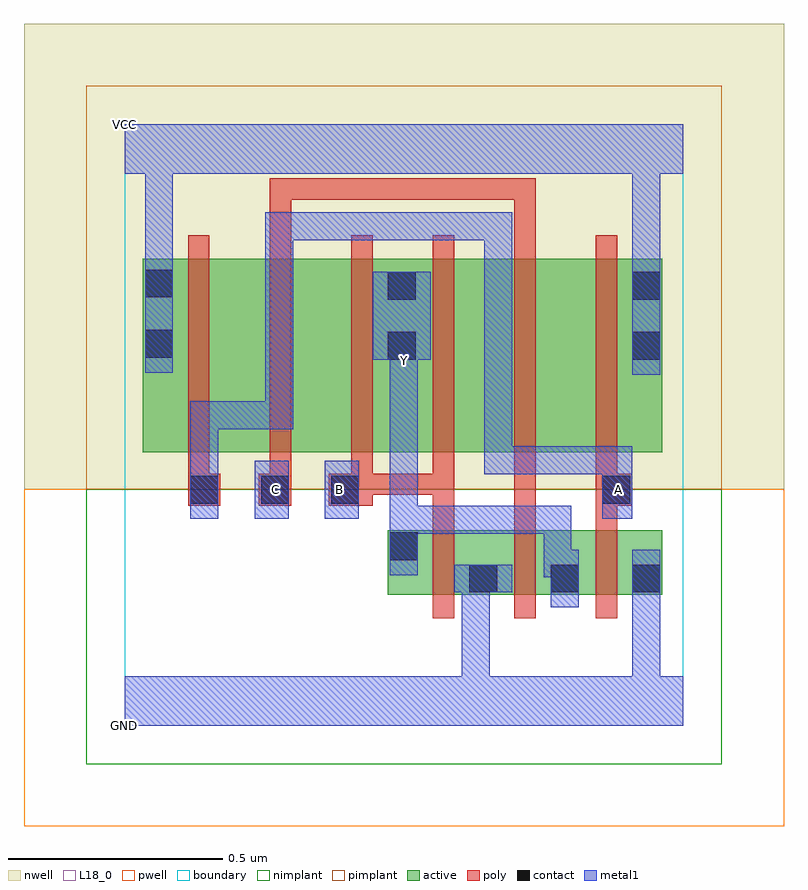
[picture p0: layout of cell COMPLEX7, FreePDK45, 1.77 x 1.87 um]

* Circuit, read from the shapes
.subckt COMPLEX7 A B C GND VCC Y
M1 GND B Y VSUBS nfet w=0.15u l=0.05u
M2 Y C GND VSUBS nfet w=0.15u l=0.05u
M3 GND A Y VSUBS nfet w=0.15u l=0.05u
M4 n1 A VCC n2 pfet w=0.45u l=0.05u
M5 n3 C n1 n2 pfet w=0.45u l=0.05u
M6 Y B n3 n2 pfet w=0.45u l=0.05u
M7 n4 B Y n2 pfet w=0.45u l=0.05u
M8 n5 C n4 n2 pfet w=0.45u l=0.05u
M9 VCC A n5 n2 pfet w=0.45u l=0.05u
.ends

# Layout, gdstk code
import gdstk
lib = gdstk.Library(unit=1e-6, precision=1e-09)
def R(c, l, rs):  # rectangles x0, y0, x1, y1
    for r in rs: c.add(gdstk.rectangle(r[:2], r[2:], *l))
def A(c, l, x, y, w, h, nx, ny, dx, dy):  # array of equal rectangles
    R(c, l, [(x+i*dx, y+j*dy, x+i*dx+w, y+j*dy+h) for i in range(nx) for j in range(ny)])
active = (1, 0)
pwell = (2, 0)
nwell = (3, 0)
nimplant = (4, 0)
pimplant = (5, 0)
poly = (9, 0)
contact = (10, 0)
metal1 = (11, 0)
L18_0 = (18, 0)
boundary = (235, 0)

complex7 = lib.new_cell('COMPLEX7')
R(complex7, active, [(0.612,0.305,0.872,0.455), (0.797,0.305,1.062,0.455), (0.797,0.305,0.872,0.38), (0.987,0.305,1.062,0.455), (0.987,0.305,1.252,0.455), (1.177,0.305,1.252,0.455), (0.612,0.345,0.687,0.455), (0.042,0.637,0.117,1.087), (0.042,0.637,0.267,1.087), (0.267,0.637,0.457,1.087), (0.457,0.637,0.682,1.087), (0.607,0.637,0.837,1.087), (0.607,0.637,0.682,1.062), (0.837,0.637,1.027,1.087), (1.027,0.637,1.252,1.087), (1.177,0.637,1.252,1.087)])
R(complex7, pwell, [(-0.235,-0.235,1.535,0.55)])
R(complex7, nwell, [(-0.235,0.55,1.535,1.635)])
R(complex7, nimplant, [(-0.09,-0.09,1.39,0.55)])
R(complex7, pimplant, [(-0.09,0.55,1.39,1.49)])
A(complex7, poly, 0.717, 0.25, 0.05, 0.26, 3, 1, 0.19, 0)
A(complex7, poly, 0.147, 0.537, 0.05, 0.095, 4, 1, 0.19, 0)
A(complex7, poly, 0.147, 0.582, 0.05, 0.56, 6, 1, 0.19, 0)
R(complex7, poly, [(0.717,0.46,0.767,0.587), (0.907,0.46,0.957,0.555), (1.097,0.46,1.147,0.562), (0.907,0.505,0.957,0.555), (0.907,0.505,0.957,0.632), (0.147,0.512,0.222,0.587), (0.312,0.512,0.387,0.587), (0.475,0.512,0.577,0.587), (1.097,0.512,1.182,0.587), (0.527,0.537,0.577,0.587), (0.527,0.537,0.577,0.587), (0.527,0.537,0.767,0.587), (0.717,0.537,0.767,0.587), (1.097,0.537,1.147,0.632), (0.337,1.092,0.387,1.275), (0.907,1.092,0.957,1.275), (0.337,1.225,0.387,1.275), (0.337,1.225,0.387,1.275), (0.337,1.225,0.387,1.275), (0.337,1.225,0.635,1.275), (0.585,1.225,0.635,1.275), (0.585,1.225,0.635,1.275), (0.585,1.225,0.635,1.275), (0.585,1.225,0.787,1.275), (0.737,1.225,0.957,1.275), (0.737,1.225,0.787,1.275), (0.737,1.225,0.787,1.275), (0.737,1.225,0.787,1.275), (0.907,1.225,0.957,1.275)])
A(complex7, contact, 0.802, 0.31, 0.065, 0.065, 3, 1, 0.19, 0)
R(complex7, contact, [(0.617,0.385,0.682,0.45), (0.152,0.517,0.217,0.582), (0.317,0.517,0.382,0.582), (0.48,0.517,0.545,0.582), (1.112,0.517,1.177,0.582), (0.612,0.852,0.677,0.917), (1.182,0.852,1.247,0.917), (0.047,0.857,0.112,0.922), (0.612,0.992,0.677,1.057), (1.182,0.992,1.247,1.057), (0.047,0.997,0.112,1.062)])
R(complex7, metal1, [(0,0,1.3,0.115), (0.785,0.05,0.85,0.375), (1.182,0.05,1.247,0.34), (0.992,0.275,1.057,0.41), (1.182,0.275,1.247,0.34), (1.182,0.275,1.247,0.34), (1.182,0.275,1.247,0.34), (1.182,0.275,1.247,0.34), (1.182,0.275,1.247,0.41), (0.767,0.31,0.902,0.375), (0.785,0.31,0.85,0.375), (0.785,0.31,0.85,0.375), (0.785,0.31,0.85,0.375), (0.785,0.31,0.85,0.375), (0.975,0.345,1.057,0.41), (0.975,0.345,1.04,0.512), (0.617,0.35,0.682,0.485), (0.617,0.42,0.682,0.485), (0.617,0.42,0.682,0.512), (0.617,0.42,0.682,0.847), (0.617,0.447,0.902,0.512), (0.837,0.447,0.902,0.512), (0.837,0.447,1.04,0.512), (0.152,0.482,0.217,0.617), (0.302,0.482,0.382,0.617), (0.465,0.482,0.545,0.617), (1.112,0.482,1.182,0.65), (0.152,0.552,0.217,0.617), (0.152,0.552,0.217,0.617), (0.152,0.552,0.217,0.755), (0.837,0.585,0.902,0.65), (0.837,0.585,0.902,0.65), (0.837,0.585,0.902,0.65), (0.837,0.585,1.04,0.65), (0.837,0.585,0.902,1.195), (0.975,0.585,1.04,0.65), (0.975,0.585,1.04,0.65), (0.975,0.585,1.04,0.65), (0.975,0.585,1.177,0.65), (0.152,0.69,0.217,0.755), (0.152,0.69,0.392,0.755), (0.327,0.69,0.392,0.755), (0.327,0.69,0.392,0.755), (0.327,0.69,0.392,0.755), (0.327,0.69,0.392,1.195), (0.617,0.782,0.682,0.917), (1.182,0.817,1.247,1.092), (0.047,0.822,0.112,1.097), (0.577,0.852,0.712,1.057), (0.617,0.852,0.682,0.917), (1.182,1.027,1.247,1.35), (0.047,1.032,0.112,1.35), (0.327,1.13,0.392,1.195), (0.327,1.13,0.53,1.195), (0.465,1.13,0.53,1.195), (0.465,1.13,0.53,1.195), (0.465,1.13,0.53,1.195), (0.465,1.13,0.902,1.195), (0.837,1.13,0.902,1.195), (0.837,1.13,0.902,1.195), (0.837,1.13,0.902,1.195), (0,1.285,1.3,1.4), (0.047,1.285,0.112,1.35), (0.047,1.285,0.112,1.35), (1.182,1.285,1.247,1.35), (1.182,1.285,1.247,1.35)])
R(complex7, L18_0, [(0,0,1.3,0.115), (0.785,0.05,0.85,0.375), (1.182,0.05,1.247,0.34), (0.992,0.275,1.057,0.41), (1.182,0.275,1.247,0.34), (1.182,0.275,1.247,0.34), (1.182,0.275,1.247,0.34), (1.182,0.275,1.247,0.34), (1.182,0.275,1.247,0.41), (0.767,0.31,0.902,0.375), (0.785,0.31,0.85,0.375), (0.785,0.31,0.85,0.375), (0.785,0.31,0.85,0.375), (0.785,0.31,0.85,0.375), (0.975,0.345,1.04,0.512), (0.975,0.345,1.057,0.41), (0.617,0.35,0.682,0.485), (0.617,0.42,0.682,0.485), (0.617,0.42,0.682,0.847), (0.617,0.42,0.682,0.512), (0.617,0.447,0.902,0.512), (0.837,0.447,0.902,0.512), (0.837,0.447,1.04,0.512), (0.152,0.482,0.217,0.617), (0.302,0.482,0.382,0.617), (0.465,0.482,0.545,0.617), (1.112,0.482,1.182,0.65), (0.317,0.517,0.382,0.582), (0.467,0.517,0.532,0.582), (1.117,0.517,1.182,0.582), (0.152,0.552,0.217,0.617), (0.152,0.552,0.217,0.617), (0.152,0.552,0.217,0.755), (0.837,0.585,0.902,0.65), (0.837,0.585,0.902,0.65), (0.837,0.585,0.902,0.65), (0.837,0.585,1.04,0.65), (0.837,0.585,0.902,1.195), (0.975,0.585,1.04,0.65), (0.975,0.585,1.04,0.65), (0.975,0.585,1.04,0.65), (0.975,0.585,1.177,0.65), (0.152,0.69,0.217,0.755), (0.152,0.69,0.392,0.755), (0.327,0.69,0.392,0.755), (0.327,0.69,0.392,0.755), (0.327,0.69,0.392,0.755), (0.327,0.69,0.392,1.195), (0.617,0.782,0.682,0.917), (0.617,0.817,0.682,0.882), (1.182,0.817,1.247,1.092), (0.047,0.822,0.112,1.097), (0.577,0.852,0.712,1.057), (0.617,0.852,0.682,0.917), (1.182,1.027,1.247,1.35), (0.047,1.032,0.112,1.35), (0.327,1.13,0.392,1.195), (0.327,1.13,0.53,1.195), (0.465,1.13,0.53,1.195), (0.465,1.13,0.53,1.195), (0.465,1.13,0.53,1.195), (0.465,1.13,0.902,1.195), (0.837,1.13,0.902,1.195), (0.837,1.13,0.902,1.195), (0.837,1.13,0.902,1.195), (0,1.285,1.3,1.4), (0.047,1.285,0.112,1.35), (0.047,1.285,0.112,1.35), (1.182,1.285,1.247,1.35), (1.182,1.285,1.247,1.35)])
R(complex7, boundary, [(0,0,1.3,1.4)])
complex7.add(gdstk.Label('A', (1.15,0.55), layer=11, texttype=0))
complex7.add(gdstk.Label('B', (0.5,0.55), layer=11, texttype=0))
complex7.add(gdstk.Label('C', (0.35,0.55), layer=11, texttype=0))
complex7.add(gdstk.Label('Y', (0.65,0.85), layer=11, texttype=0))
complex7.add(gdstk.Label('VCC', (0,1.4), layer=11, texttype=0))
complex7.add(gdstk.Label('GND', (0,0), layer=11, texttype=0))

lib.write_gds('COMPLEX7.gds')
